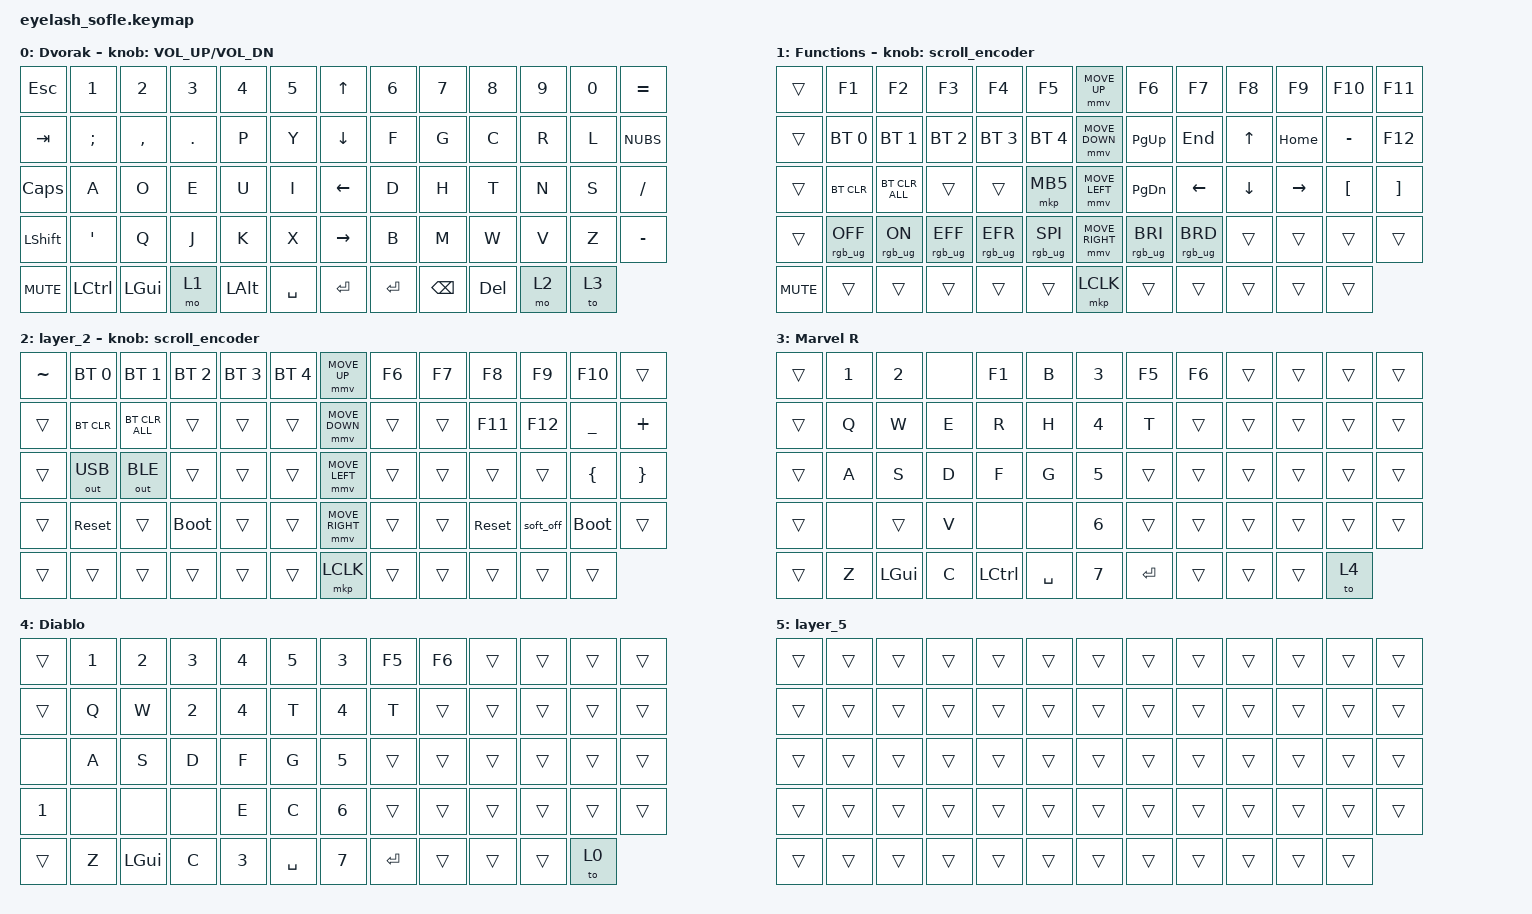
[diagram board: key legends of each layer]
#define ZMK_POINTING_DEFAULT_MOVE_VAL 1200  // 600
#define ZMK_POINTING_DEFAULT_SCRL_VAL 25   // 10

#include <input/processors.dtsi>
#include <zephyr/dt-bindings/input/input-event-codes.h>
#include <behaviors.dtsi>
#include <dt-bindings/zmk/bt.h>
#include <dt-bindings/zmk/ext_power.h>
#include <dt-bindings/zmk/keys.h>
#include <dt-bindings/zmk/pointing.h>
#include <dt-bindings/zmk/rgb.h>
#include <dt-bindings/zmk/outputs.h>

#include "zmk-helpers/helper.h"

// Source desired key-position labels
//#include "zmk-helpers/key-labels/sofle.h"

// Source unicode-chars for desired languages
#include "zmk-helpers/unicode-chars/spanish.dtsi"

&mmv_input_listener { input-processors = <&zip_xy_scaler 2 1>; };

&msc_input_listener { input-processors = <&zip_scroll_scaler 2 1>; };

ZMK_UNICODE_SINGLE(euro_sign, N2, N0, A, C)

&msc {
    acceleration-exponent = <1>;      // 0
    time-to-max-speed-ms = <100>;       // 300
    delay-ms = <0>;                   // 0
};

&mmv {
    time-to-max-speed-ms = <500>;
    acceleration-exponent = <1>;
    trigger-period-ms = <16>;
};


/ {

    scroll_encoder: scroll_encoder {
        compatible = "zmk,behavior-sensor-rotate";
        #sensor-binding-cells = <0>;
        bindings = <&msc SCRL_DOWN>, <&msc SCRL_UP>;
        tap-ms = <100>;
    };

    keymap {
        compatible = "zmk,keymap";

        layer0 {
            bindings = <
&kp ESC     &kp N1          &kp N2        &kp N3     &kp N4         &kp N5       &kp UP_ARROW       &kp N6     &kp N7         &kp N8     &kp N9           &kp N0      &kp EQUAL
&kp TAB     &kp SEMICOLON   &kp COMMA     &kp DOT    &kp P          &kp Y        &kp DOWN_ARROW     &kp F      &kp G          &kp C      &kp R            &kp L       &kp NUBS
&kp CAPS    &kp A           &kp O         &kp E      &kp U          &kp I        &kp LEFT_ARROW     &kp D      &kp H          &kp T      &kp N            &kp S       &kp SLASH
&kp LSHFT   &kp SINGLE_QUOTE  &kp Q         &kp J      &kp K          &kp X        &kp RIGHT_ARROW  &kp B      &kp M          &kp W      &kp V            &kp Z       &kp MINUS
&kp C_MUTE  &kp LCTRL       &kp LEFT_GUI  &mo 1      &kp LEFT_ALT   &kp SPACE    &kp ENTER          &kp ENTER  &kp BACKSPACE  &kp DELETE    &mo 2  &to 3
            >;

            sensor-bindings = <&inc_dec_kp C_VOLUME_UP C_VOL_DN>;
            display-name = "Dvorak";
        };

        layer_1 {
            bindings = <
&trans   &kp F1           &kp F2          &kp F3           &kp F4           &kp F5             &mmv MOVE_UP     &kp F6           &kp F7           &kp F8      &kp F9     &kp F10           &kp F11
&trans      &bt BT_SEL 0  &bt BT_SEL 1    &bt BT_SEL 2     &bt BT_SEL 3     &bt BT_SEL 4       &mmv MOVE_DOWN   &kp PG_UP        &kp END          &kp UP      &kp HOME   &kp MINUS         &kp F12
&trans      &bt BT_CLR        &bt BT_CLR_ALL          &trans           &trans           &mkp MB5           &mmv MOVE_LEFT   &kp PG_DN        &kp LEFT         &kp DOWN    &kp RIGHT  &kp LEFT_BRACKET  &kp RIGHT_BRACKET
&trans      &rgb_ug RGB_OFF  &rgb_ug RGB_ON  &rgb_ug RGB_EFF  &rgb_ug RGB_EFR  &rgb_ug RGB_SPI    &mmv MOVE_RIGHT  &rgb_ug RGB_BRI  &rgb_ug RGB_BRD  &trans     &trans   &trans           &trans
&kp C_MUTE  &trans           &trans          &trans           &trans           &trans             &mkp LCLK        &trans           &trans           &trans      &trans     &trans
            >;

            display-name = "Functions";
            sensor-bindings = <&scroll_encoder>;
        };

        layer_2 {
            bindings = <
&kp TILDE  &bt BT_SEL 0  &bt BT_SEL 1    &bt BT_SEL 2  &bt BT_SEL 3  &bt BT_SEL 4    &mmv MOVE_UP     &kp F6  &kp F7  &kp F8      &kp F9     &kp F10      &trans
&trans     &bt BT_CLR    &bt BT_CLR_ALL  &trans        &trans        &trans          &mmv MOVE_DOWN   &trans  &trans  &kp F11     &kp F12    &kp UNDER    &kp PLUS
&trans     &out OUT_USB  &out OUT_BLE    &trans        &trans        &trans          &mmv MOVE_LEFT   &trans  &trans  &trans      &trans     &kp LBRC     &kp RBRC
&trans     &sys_reset    &trans          &bootloader   &trans        &trans          &mmv MOVE_RIGHT  &trans  &trans  &sys_reset  &soft_off  &bootloader  &trans
&trans     &trans        &trans          &trans        &trans        &trans          &mkp LCLK        &trans  &trans  &trans      &trans     &trans
            >;

            sensor-bindings = <&scroll_encoder>;
        };

        layer_3 {
            bindings = <
&trans  &kp N1  &kp N2  &none  &kp F1  &kp B    &kp N3  &kp F5  &kp F6  &trans  &trans  &trans  &trans
&trans  &kp Q  &kp W  &kp E  &kp R  &kp H   &kp N4  &kp T  &trans  &trans  &trans  &trans  &trans
&trans  &kp A  &kp S  &kp D  &kp F  &kp G    &kp N5  &trans  &trans  &trans  &trans  &trans  &trans
&trans  &none  &trans  &kp V  &none  &none    &kp N6  &trans  &trans  &trans  &trans  &trans  &trans
&trans  &kp Z  &kp LEFT_GUI  &kp C  &kp LCTRL  &kp SPACE    &kp N7  &kp ENTER  &trans  &trans  &trans  &to 4
            >;
            display-name = "Marvel R";
        };

        layer_4 {
            bindings = <
&trans  &kp N1  &kp N2  &kp N3  &kp N4  &kp N5    &kp N3  &kp F5  &kp F6  &trans  &trans  &trans  &trans
&trans  &kp Q  &kp W  &kp N2  &kp N4  &kp T        &kp N4  &kp T  &trans  &trans  &trans  &trans  &trans
&none  &kp A  &kp S  &kp D  &kp F  &kp G           &kp N5  &trans  &trans  &trans  &trans  &trans  &trans
&kp N1  &none  &none  &none  &kp E  &kp C       &kp N6  &trans  &trans  &trans  &trans  &trans  &trans
&trans  &kp Z  &kp LEFT_GUI  &kp C  &kp N3  &kp SPACE    &kp N7  &kp ENTER  &trans  &trans  &trans  &to 0
            >;
            display-name = "Diablo";
        };

        layer_5 {
            bindings = <
&trans  &trans  &trans  &trans  &trans  &trans    &trans  &trans  &trans  &trans  &trans  &trans  &trans
&trans  &trans  &trans  &trans  &trans  &trans    &trans  &trans  &trans  &trans  &trans  &trans  &trans
&trans  &trans  &trans  &trans  &trans  &trans    &trans  &trans  &trans  &trans  &trans  &trans  &trans
&trans  &trans  &trans  &trans  &trans  &trans    &trans  &trans  &trans  &trans  &trans  &trans  &trans
&trans  &trans  &trans  &trans  &trans  &trans    &trans  &trans  &trans  &trans  &trans  &trans
            >;
        };

        
    };
};
